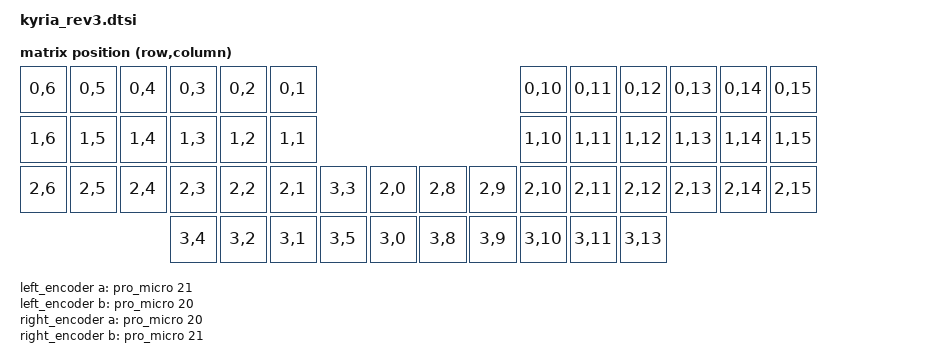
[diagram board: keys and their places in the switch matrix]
/*
 * Copyright (c) 2022 The ZMK Contributors
 *
 * SPDX-License-Identifier: MIT
*/

#include "kyria_common.dtsi"

/ {
	chosen {
		zmk,matrix_transform = &default_transform;
	};

	default_transform: keymap_transform_0 {
		compatible = "zmk,matrix-transform";
		columns = <14>;
		rows = <4>;
		map = <
		// |  SW6  |  SW5  |  SW4  |  SW3  |  SW2  |  SW1  |                                  |  SW1   |   SW2  |   SW3  |   SW4  |   SW5  |   SW6  |
			RC(0,6) RC(0,5) RC(0,4) RC(0,3) RC(0,2) RC(0,1)                                    RC(0,10) RC(0,11) RC(0,12) RC(0,13) RC(0,14) RC(0,15)
		// |  SW12 |  SW11 |  SW10 |  SW9  |  SW8  |  SW7  |                                  |  SW7   |   SW8  |   SW9  |  SW10  |  SW11  |  SW12  |
			RC(1,6) RC(1,5) RC(1,4) RC(1,3) RC(1,2) RC(1,1)                                    RC(1,10) RC(1,11) RC(1,12) RC(1,13) RC(1,14) RC(1,15)
		// |  SW20 |  SW19 |  SW18 |  SW17 |  SW16 |  SW15 |  SW14 |  SW13 |  |  SW13 |  SW14 |  SW15  |  SW16  |  SW17  |  SW18  |  SW19  |  SW20  |
			RC(2,6) RC(2,5) RC(2,4) RC(2,3) RC(2,2) RC(2,1) RC(3,3) RC(2,0)    RC(2,8) RC(2,9) RC(2,10) RC(2,11) RC(2,12) RC(2,13) RC(2,14) RC(2,15)
		//                       |  SW25 |  SW24 |  SW23 |  SW22 |  SW21 |       |  SW21 |  SW22 |  SW23  |  SW24  |  SW25  |
       				              RC(3,4) RC(3,2) RC(3,1) RC(3,5) RC(3,0)         RC(3,8) RC(3,9) RC(3,10) RC(3,11) RC(3,13)
		>;
	};
};

&left_encoder {
	a-gpios = <&pro_micro 21 (GPIO_ACTIVE_HIGH | GPIO_PULL_UP)>;
	b-gpios = <&pro_micro 20 (GPIO_ACTIVE_HIGH | GPIO_PULL_UP)>;
};

&right_encoder {
	a-gpios = <&pro_micro 20 (GPIO_ACTIVE_HIGH | GPIO_PULL_UP)>;
	b-gpios = <&pro_micro 21 (GPIO_ACTIVE_HIGH | GPIO_PULL_UP)>;
};
